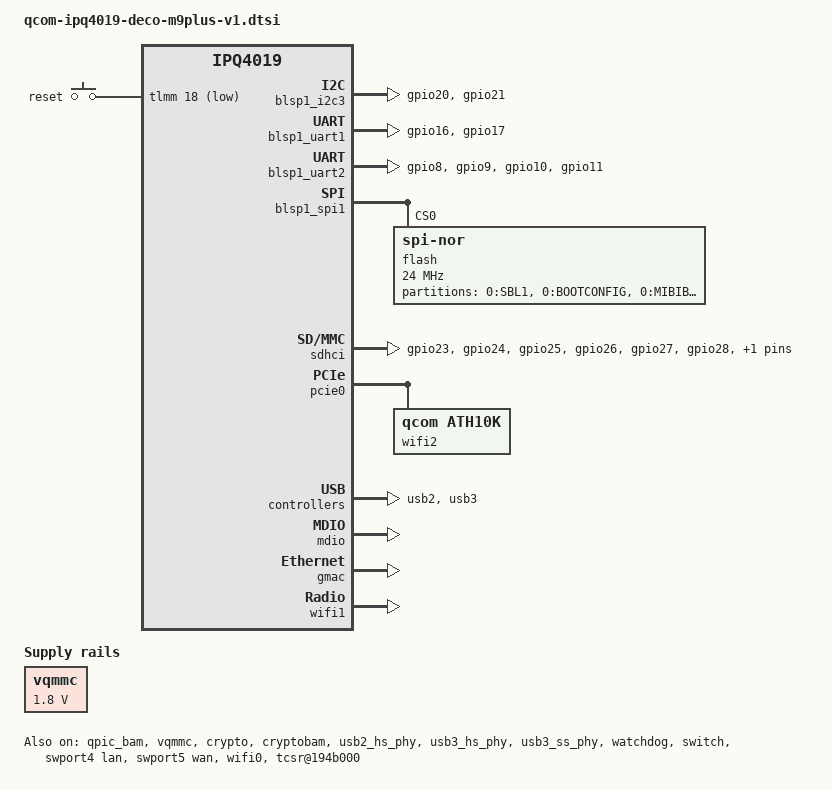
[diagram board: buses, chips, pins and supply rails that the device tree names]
// SPDX-License-Identifier: ISC
// Copyright (c) 2015, The Linux Foundation. All rights reserved.
// Copyright (c) 2021, Frank Veltmans <veltmans.frank@gmail.com>
#include "qcom-ipq4019.dtsi"
#include <dt-bindings/gpio/gpio.h>
#include <dt-bindings/input/input.h>
#include <dt-bindings/soc/qcom,tcsr.h>
#include <dt-bindings/leds/common.h>
/ {
	chosen {
		bootargs-append = " clk_ignore_unused";
	};

	aliases {
		led-boot = &led_blue;
		led-failsafe = &led_red;
		led-running = &led_green;
		led-upgrade = &led_red;
		label-mac-device = &swport4;
	};

	keys {
		compatible = "gpio-keys";
		reset {
			label = "reset";
			gpios = <&tlmm 18 GPIO_ACTIVE_LOW>;
			linux,code = <KEY_RESTART>;
		};
	};

	soc {
		qcom,msm_qpic@7980000 {
			status = "ok";
		};
		tcsr@194b000 {
			compatible = "qcom,tcsr";
			reg = <0x194b000 0x100>;
			qcom,usb-hsphy-mode-select = <TCSR_USB_HSPHY_HOST_MODE>;
			status = "okay";
		};
		tcsr@1949000 {
			compatible = "qcom,tcsr";
			reg = <0x1949000 0x100>;
			qcom,wifi_glb_cfg = <TCSR_WIFI_GLB_CFG>;
		};
		tcsr@1957000 {
			compatible = "qcom,tcsr";
			reg = <0x1957000 0x100>;
			qcom,wifi_noc_memtype_m0_m2 = <TCSR_WIFI_NOC_MEMTYPE_M0_M2>;
		};
		ess_tcsr@1953000 {
			compatible = "qcom,tcsr";
			reg = <0x1953000 0x1000>;
			qcom,ess-interface-select = <TCSR_ESS_PSGMII>;
		};
		qcom_crypto: qcrypto@8e20000 {
			status = "okay";
		};

		qcom_cedev: qcedev@8e20000 {
			status = "okay";
		};
	};
};
&tlmm {
	serial_0_pins: serial_0_pinmux {
		pinmux {
			pins = "gpio16", "gpio17";
			function = "blsp_uart0";
			bias-disable;
		};
	};
	serial_1_pins: serial_1_pinmux {
		pinmux {
			pins = "gpio8", "gpio9", "gpio10", "gpio11";
			function = "blsp_uart1";
			bias-disable;
		};
	};
	spi_0_pins: spi_0_pinmux {
		pinmux {
			pins = "gpio13", "gpio14", "gpio15";
			function = "blsp_spi0";
			drive-strength = <12>;
			bias-disable;
		};
		pinmux_cs {
			pins = "gpio12";
			function = "gpio";
			drive-strength = <2>;
			bias-disable;
			output-high;
		};
	};
	i2c_0_pins: i2c_0_pinmux {
		pinmux {
			pins = "gpio20", "gpio21";
			function = "blsp_i2c0";
			drive-strength = <16>;
			bias-disable;
		};
	};
	wifi_0_pins: wifi1_pinmux {
		mux_1 {
			pins = "gpio37";
			output-high;
			function="gpio";
			bias-pull-up;
			drive-strength = <6>;
		};
		mux_2 {
			pins = "gpio43";
			function="gpio";
			bias-pull-up;
			drive-strength = <6>;
		};
		mux_3 {
			pins = "gpio52";
			output-high;
			function="gpio";
			bias-pull-up;
			drive-strength = <6>;
		};
	};

	sd_0_pins: sd_0_pinmux {
		sd0 {
			pins = "gpio23";
			function = "sdio";
			drive-strength = <10>;
		};
		sd1 {
			pins = "gpio24";
			function = "sdio";
			drive-strength = <10>;
		};
		sd2 {
			pins = "gpio25";
			function = "sdio";
			drive-strength = <10>;
		};
		sd3 {
			pins = "gpio26";
			function = "sdio";
			drive-strength = <10>;
		};
		sdclk {
			pins = "gpio27";
			function = "sdio";
			drive-strength = <16>;
		};
		sdcmd {
			pins = "gpio28";
			function = "sdio";
			drive-strength = <10>;
		};
    };
	ts_0_pins: ts_0_pinmux {
		mux_1 {
			pins = "gpio34";
			output-high;
		};
		mux_2 {
			pins= "gpio35";
			input-enable;
			bias-pull-up;
		};
	};
};
&blsp_dma {
	status = "okay";
};
&blsp1_i2c3 {
	pinctrl-0 = <&i2c_0_pins>;
	pinctrl-names = "default";
	status = "okay";
};
&blsp1_uart1 {
	pinctrl-0 = <&serial_0_pins>;
	pinctrl-names = "default";
	status = "okay";
};
&blsp1_uart2 {
	pinctrl-0 = <&serial_1_pins>;
	pinctrl-names = "default";
	status = "okay";
};
&qpic_bam {
	status = "okay";
};
&blsp1_spi1 {
	status = "okay";

	flash@0 {
		compatible = "jedec,spi-nor";
		reg = <0>;
		spi-max-frequency = <24000000>;

		partitions {
			compatible = "fixed-partitions";
			#address-cells = <1>;
			#size-cells = <1>;

			partition@0 {
				label = "0:SBL1";
				reg = <0x000000000000 0x30000>;
				read-only;
			};
			partition@000000030000 {
				label = "0:BOOTCONFIG";
				reg = <0x000000030000 0x10000>;
			};
			partition@40000 {
				label = "0:MIBIB";
				reg = <0x000000040000 0x10000>;
			};
			partition@50000 {
				label = "0:BOOTCONFIG1";
				reg = <0x000000050000 0x10000>;
			};
			partition@60000 {
				label = "0:QSEE";
				reg = <0x000000060000 0x60000>;
			};
			partition@c0000 {
				label = "0:CDT";
				reg = <0x0000000c0000 0x10000>;
			};
			partition@d0000 {
				label = "0:DDRPARAMS";
				reg = <0x0000000d0000 0x10000>;
			};
			partition@e0000 {
				label = "0:APPSBLENV";
				reg = <0x0000000e0000 0x10000>;
			};
			partition@f0000 {
				label = "0:APPSBL";
				reg = <0x0000000f0000 0x80000>;
			};
			partition@170000 {
				label = "0:ART";
				reg = <0x000000170000 0x10000>;
				// looks to be the same as in v2
				compatible = "nvmem-cells";
				precal_art_1000: precal@1000 {
					reg = <0x1000 0x2f20>;
				};
				precal_art_5000: precal@5000 {
					reg = <0x5000 0x2f20>;
				};
			};
			partition@180000 {
				label = "OPAQUE";
				compatible = "nvmem-cells";
				reg = <0x000000180000 0x150000>;
				macaddr_config_0: macaddr@0 {
					reg = <0x8 0x6>;
				};
			};
			partition@2d0000 {
				label = "0:HLOS";
				reg = <0x0000002d0000 0x10000>;
			};
			partition@2e0000 {
				label = "0:rootfs";
				reg = <0x0000002e0000 0x50000>;
			};
			partition@330000 {
				label = "0:APPSBL_1";
				reg = <0x000000330000 0x80000>;
			};
			partition@3b0000 {
				label = "1:HLOS";
				reg = <0x0000003b0000 0x10000>;
			};
			partition@3c0000 {
				label = "1:rootfs";
				reg = <0x0000003c0000 0x440000>;
			};
		};
	};
};
&vqmmc {
	regulator-min-microvolt = <1800000>;
	states = <3000000 0x3
			  1800000 0x1>;
	reg = <0x01948000 0x4>;
	mask = <0x3>;
	status = "okay";
};
&sdhci {
	status = "okay";
	cap-mmc-highspeed;
	max-frequency = <52000000>;
	pinctrl-0 = <&sd_0_pins>;
	pinctrl-names = "default";
	vqmmc-supply = <&vqmmc>;
	cd-gpios = <&tlmm 22 GPIO_ACTIVE_LOW>;
	sd-ldo-gpios = <&tlmm 33 GPIO_ACTIVE_LOW>;
};
&pcie0 {
	status = "okay";

	perst-gpio = <&tlmm 38 GPIO_ACTIVE_LOW>;
	wake-gpio = <&tlmm 50 GPIO_ACTIVE_LOW>;

	bridge@0,0 {
		reg = <0x00000000 0 0 0 0>;
		#address-cells = <3>;
		#size-cells = <2>;
		ranges;

		wifi2: wifi@1,0 {
			compatible = "qcom,ath10k";
			reg = <0x00010000 0 0 0 0>;
		};
	};
};
&crypto {
	status = "okay";
};
&cryptobam {
	status = "okay";
};
&usb2 {
	status = "okay";
};
&usb2_hs_phy {
	status = "okay";
};
&usb3 {
	status = "okay";
};
&usb3_hs_phy {
	status = "okay";
};
&usb3_ss_phy {
	status = "okay";
};
&mdio {
	status = "okay";
};
&watchdog {
	status = "okay";
};
&gmac {
	status = "okay";
};
&switch {
	status = "okay";
};
&swport4 {
	status = "okay";
	label = "lan";
	nvmem-cell-names = "mac-address";
	nvmem-cells = <&macaddr_config_0>;
};
&swport5 {
	status = "okay";
	label = "wan";
	nvmem-cell-names = "mac-address";
	nvmem-cells = <&macaddr_config_0>;
	mac-address-increment = <1>;
};

&wifi0 {
	pinctrl-0 = <&wifi_0_pins>;
	pinctrl-names = "default";
	btcoex_support = <1>;
	wlan_prio_gpio = <52>;
	status = "okay";
	nvmem-cell-names = "pre-calibration", "mac-address";
	nvmem-cells = <&precal_art_1000>, <&macaddr_config_0>;
	mac-address-increment = <2>;
};

&wifi1 {
	status = "okay";
	btcoex_support = <0>;
	nvmem-cell-names = "pre-calibration", "mac-address";
	nvmem-cells = <&precal_art_5000>, <&macaddr_config_0>;
	mac-address-increment = <3>;
	ieee80211-freq-limit = <5170000 5330000>;
};

&wifi2 {
	status = "okay";
	nvmem-cell-names = "pre-calibration", "mac-address";
	nvmem-cells = <&precal_art_5000>, <&macaddr_config_0>;
	mac-address-increment = <4>;
	ieee80211-freq-limit = <5490000 5835000>;
};
